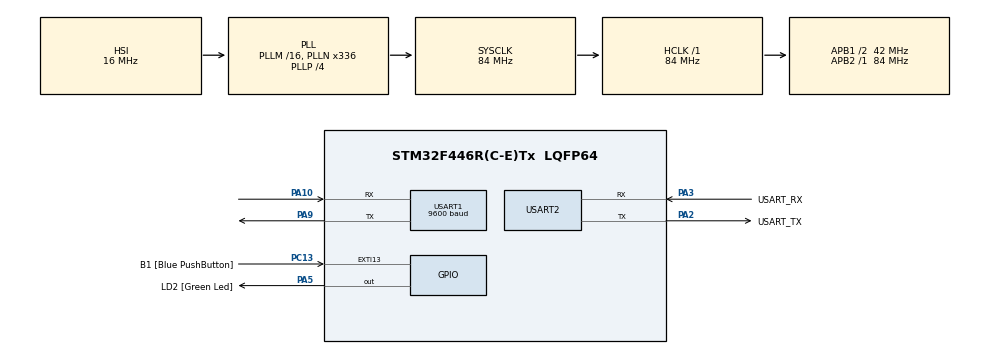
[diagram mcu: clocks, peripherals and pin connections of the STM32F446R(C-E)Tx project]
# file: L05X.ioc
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Mcu.Family=STM32F4
Mcu.Name=STM32F446R(C-E)Tx
Mcu.Package=LQFP64
NVIC.EXTI15_10_IRQn=true\:0\:0\:false\:false\:true\:true\:true\:true
NVIC.PriorityGroup=NVIC_PRIORITYGROUP_4
NVIC.USART1_IRQn=true\:0\:0\:false\:false\:true\:true\:true\:true
NVIC.USART2_IRQn=true\:3\:0\:true\:false\:true\:true\:true\:true
PA10.GPIO_PuPd=GPIO_PULLUP
PA10.Mode=Asynchronous
PA10.Signal=USART1_RX
PA13.GPIO_Label=TMS
PA13.Signal=SYS_JTMS-SWDIO
PA14.GPIO_Label=TCK
PA14.Signal=SYS_JTCK-SWCLK
PA2.GPIO_Label=USART_TX
PA2.Mode=Asynchronous
PA2.Signal=USART2_TX
PA3.GPIO_Label=USART_RX
PA3.GPIO_PuPd=GPIO_PULLUP
PA3.Mode=Asynchronous
PA3.Signal=USART2_RX
PA5.GPIO_Label=LD2 [Green Led]
PA5.Signal=GPIO_Output
PA9.GPIO_PuPd=GPIO_PULLUP
PA9.Mode=Asynchronous
PA9.Signal=USART1_TX
PB3.GPIO_Label=SWO
PB3.Signal=SYS_JTDO-SWO
PC13.GPIO_Label=B1 [Blue PushButton]
PC13.GPIO_ModeDefaultEXTI=GPIO_MODE_IT_FALLING
PC13.Signal=GPXTI13
ProjectManager.HeapSize=0x200
ProjectManager.StackSize=0x400
ProjectManager.TargetToolchain=STM32CubeIDE
RCC.AHBFreq_Value=84000000
RCC.APB1CLKDivider=RCC_HCLK_DIV2
RCC.APB1Freq_Value=42000000
RCC.APB1TimFreq_Value=84000000
RCC.APB2Freq_Value=84000000
RCC.APB2TimFreq_Value=84000000
RCC.CortexFreq_Value=84000000
RCC.FLatency-AdvancedSettings=FLASH_LATENCY_2
RCC.HCLKFreq_Value=84000000
RCC.HSE_VALUE=8000000
RCC.HSI_VALUE=16000000
RCC.LSE_VALUE=32768
RCC.PLLN=336
RCC.PLLP=RCC_PLLP_DIV4
RCC.SYSCLKFreq_VALUE=84000000
RCC.SYSCLKSource=RCC_SYSCLKSOURCE_PLLCLK
RCC.USBFreq_Value=168000000
RCC.VCOOutputFreq_Value=336000000
USART1.BaudRate=9600
USART1.VirtualMode=VM_ASYNC
USART2.VirtualMode=VM_ASYNC
board=NUCLEO-F446RE

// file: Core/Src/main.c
/* USER CODE BEGIN Header */
/**
  ******************************************************************************
  * @file           : main.c
  * @brief          : Main program body
  ******************************************************************************
  * @attention
  *
  * Copyright (c) 2025 STMicroelectronics.
  * All rights reserved.
  *
  * This software is licensed under terms that can be found in the LICENSE file
  * in the root directory of this software component.
  * If no LICENSE file comes with this software, it is provided AS-IS.
  *
  ******************************************************************************
  */
/* USER CODE END Header */
#include "main.h"

/* USER CODE BEGIN Includes */
#include <stdio.h>
#include <string.h>

/* USER CODE END Includes */

UART_HandleTypeDef huart1;
UART_HandleTypeDef huart2;

/* USER CODE BEGIN PV */

uint8_t ui8NewTimer;
char chRFTXBuffer[100];
char chRFRXBuffer[100];

uint8_t ui8RX;
uint8_t ui8RXMessageIndex = 0;

/* USER CODE END PV */

void SystemClock_Config(void);
static void MX_GPIO_Init(void);
static void MX_USART1_UART_Init(void);
static void MX_USART2_UART_Init(void);

int main(void)
{

  /* MCU Configuration--------------------------------------------------------*/

  /* Reset of all peripherals, Initializes the Flash interface and the Systick. */
  HAL_Init();

  /* Configure the system clock */
  SystemClock_Config();

  /* Initialize all configured peripherals */
  MX_GPIO_Init();
  MX_USART1_UART_Init();
  MX_USART2_UART_Init();
  /* USER CODE BEGIN 2 */

  HAL_UART_Receive_IT(&huart1, &ui8RX, 1);

  /* USER CODE END 2 */

  /* Infinite loop */
  /* USER CODE BEGIN WHILE */
  while (1)
  {
	  if(ui8RXMessageIndex == 255)
	  {
		  HAL_UART_Transmit_IT(&huart2, (uint8_t*)chRFRXBuffer, strlen(chRFRXBuffer));
		  ui8RXMessageIndex = 0;
		  //chRFRXBuffer[0] = 0;
		  //chRFRXBuffer[1] = 0;
		  //chRFRXBuffer[2] = 0;
		  //chRFRXBuffer[3] = 0;
	  }
	  if(ui8NewTimer)
	  {
		 ui8NewTimer = 0;
		 sprintf(chRFTXBuffer,"New Timer Message\r\n");
		 HAL_UART_Transmit_IT(&huart1, (uint8_t*)chRFTXBuffer, strlen(chRFTXBuffer));
	  }
    /* USER CODE END WHILE */

  }
}

void SystemClock_Config(void)
{
  RCC_OscInitTypeDef RCC_OscInitStruct = {0};
  RCC_ClkInitTypeDef RCC_ClkInitStruct = {0};

  /** Configure the main internal regulator output voltage
  */
  __HAL_RCC_PWR_CLK_ENABLE();
  __HAL_PWR_VOLTAGESCALING_CONFIG(PWR_REGULATOR_VOLTAGE_SCALE3);

  /** Initializes the RCC Oscillators according to the specified parameters
  * in the RCC_OscInitTypeDef structure.
  */
  RCC_OscInitStruct.OscillatorType = RCC_OSCILLATORTYPE_HSI;
  RCC_OscInitStruct.HSIState = RCC_HSI_ON;
  RCC_OscInitStruct.HSICalibrationValue = RCC_HSICALIBRATION_DEFAULT;
  RCC_OscInitStruct.PLL.PLLState = RCC_PLL_ON;
  RCC_OscInitStruct.PLL.PLLSource = RCC_PLLSOURCE_HSI;
  RCC_OscInitStruct.PLL.PLLM = 16;
  RCC_OscInitStruct.PLL.PLLN = 336;
  RCC_OscInitStruct.PLL.PLLP = RCC_PLLP_DIV4;
  RCC_OscInitStruct.PLL.PLLQ = 2;
  RCC_OscInitStruct.PLL.PLLR = 2;
  if (HAL_RCC_OscConfig(&RCC_OscInitStruct) != HAL_OK)
  {
    Error_Handler();
  }

  /** Initializes the CPU, AHB and APB buses clocks
  */
  RCC_ClkInitStruct.ClockType = RCC_CLOCKTYPE_HCLK|RCC_CLOCKTYPE_SYSCLK
                              |RCC_CLOCKTYPE_PCLK1|RCC_CLOCKTYPE_PCLK2;
  RCC_ClkInitStruct.SYSCLKSource = RCC_SYSCLKSOURCE_PLLCLK;
  RCC_ClkInitStruct.AHBCLKDivider = RCC_SYSCLK_DIV1;
  RCC_ClkInitStruct.APB1CLKDivider = RCC_HCLK_DIV2;
  RCC_ClkInitStruct.APB2CLKDivider = RCC_HCLK_DIV1;

  if (HAL_RCC_ClockConfig(&RCC_ClkInitStruct, FLASH_LATENCY_2) != HAL_OK)
  {
    Error_Handler();
  }
}

static void MX_USART1_UART_Init(void)
{

  huart1.Instance = USART1;
  huart1.Init.BaudRate = 9600;
  huart1.Init.WordLength = UART_WORDLENGTH_8B;
  huart1.Init.StopBits = UART_STOPBITS_1;
  huart1.Init.Parity = UART_PARITY_NONE;
  huart1.Init.Mode = UART_MODE_TX_RX;
  huart1.Init.HwFlowCtl = UART_HWCONTROL_NONE;
  huart1.Init.OverSampling = UART_OVERSAMPLING_16;
  if (HAL_UART_Init(&huart1) != HAL_OK)
  {
    Error_Handler();
  }

}

static void MX_USART2_UART_Init(void)
{

  huart2.Instance = USART2;
  huart2.Init.BaudRate = 115200;
  huart2.Init.WordLength = UART_WORDLENGTH_8B;
  huart2.Init.StopBits = UART_STOPBITS_1;
  huart2.Init.Parity = UART_PARITY_NONE;
  huart2.Init.Mode = UART_MODE_TX_RX;
  huart2.Init.HwFlowCtl = UART_HWCONTROL_NONE;
  huart2.Init.OverSampling = UART_OVERSAMPLING_16;
  if (HAL_UART_Init(&huart2) != HAL_OK)
  {
    Error_Handler();
  }

}

static void MX_GPIO_Init(void)
{
  GPIO_InitTypeDef GPIO_InitStruct = {0};

  /* GPIO Ports Clock Enable */
  __HAL_RCC_GPIOC_CLK_ENABLE();
  __HAL_RCC_GPIOA_CLK_ENABLE();
  __HAL_RCC_GPIOB_CLK_ENABLE();

  /*Configure GPIO pin Output Level */
  HAL_GPIO_WritePin(LD2_GPIO_Port, LD2_Pin, GPIO_PIN_RESET);

  /*Configure GPIO pin : B1_Pin */
  GPIO_InitStruct.Pin = B1_Pin;
  GPIO_InitStruct.Mode = GPIO_MODE_IT_FALLING;
  GPIO_InitStruct.Pull = GPIO_NOPULL;
  HAL_GPIO_Init(B1_GPIO_Port, &GPIO_InitStruct);

  /*Configure GPIO pin : LD2_Pin */
  GPIO_InitStruct.Pin = LD2_Pin;
  GPIO_InitStruct.Mode = GPIO_MODE_OUTPUT_PP;
  GPIO_InitStruct.Pull = GPIO_NOPULL;
  GPIO_InitStruct.Speed = GPIO_SPEED_FREQ_LOW;
  HAL_GPIO_Init(LD2_GPIO_Port, &GPIO_InitStruct);

  /* EXTI interrupt init*/
  HAL_NVIC_SetPriority(EXTI15_10_IRQn, 0, 0);
  HAL_NVIC_EnableIRQ(EXTI15_10_IRQn);

}

/* USER CODE BEGIN 4 */

void HAL_UART_RxCpltCallback(UART_HandleTypeDef *huart)
{
  /* Prevent unused argument(s) compilation warning */
  //UNUSED(huart);
  /* NOTE: This function should not be modified, when the callback is needed,
           the HAL_UART_RxCpltCallback could be implemented in the user file
   */

	if(huart->Instance == huart1.Instance)
	{
		if(ui8RXMessageIndex < 80)
		{
			if(ui8RX == '\n')
			{
				chRFRXBuffer[ui8RXMessageIndex] = 0;
				ui8RXMessageIndex = 255;
			}
			else
			{
				chRFRXBuffer[ui8RXMessageIndex] = (char)ui8RX;
				ui8RXMessageIndex ++;
			}
		}
		HAL_UART_Receive_IT(&huart1, &ui8RX, 1);
	}
}

/* USER CODE END 4 */

void Error_Handler(void)
{
  __disable_irq();
  while (1)
  {
  }
}
